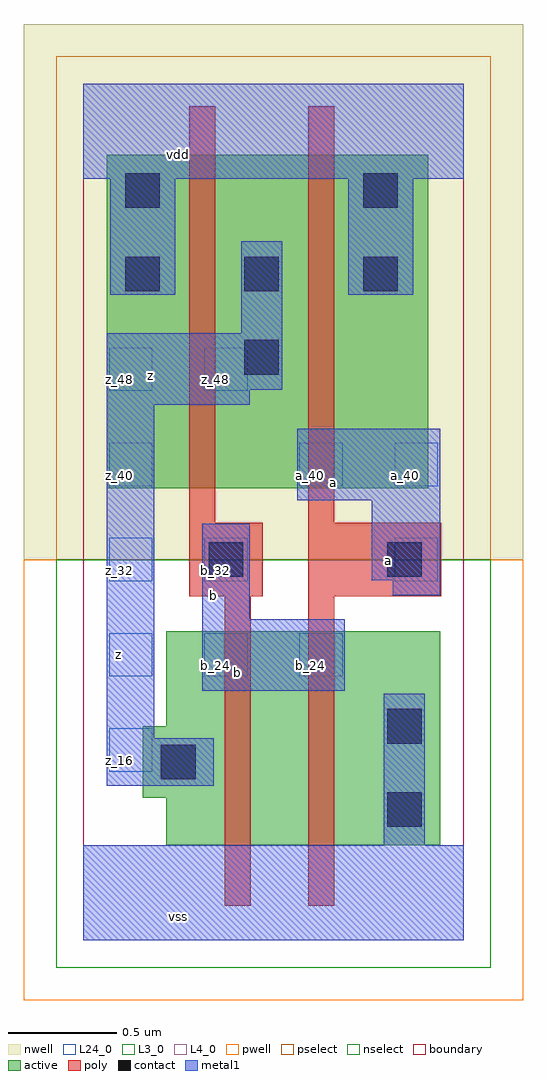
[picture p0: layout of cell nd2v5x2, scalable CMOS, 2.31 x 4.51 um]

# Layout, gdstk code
import gdstk
lib = gdstk.Library(unit=1e-6, precision=2.5e-09)
def R(c, l, rs):  # rectangles x0, y0, x1, y1
    for r in rs: c.add(gdstk.rectangle(r[:2], r[2:], *l))
def A(c, l, x, y, w, h, nx, ny, dx, dy):  # array of equal rectangles
    R(c, l, [(x+i*dx, y+j*dy, x+i*dx+w, y+j*dy+h) for i in range(nx) for j in range(ny)])
L3_0 = (3, 0)
L4_0 = (4, 0)
L24_0 = (24, 0)
contact = (25, 0)
pwell = (41, 0)
nwell = (42, 0)
active = (43, 0)
pselect = (44, 0)
nselect = (45, 0)
poly = (46, 0)
metal1 = (49, 0)
boundary = (63, 0)

nd2v5x2 = lib.new_cell('nd2v5x2')
R(nd2v5x2, L3_0, [(0.385,0.44,1.65,0.66), (0.275,0.66,1.65,0.99), (0.385,0.99,1.65,1.43)])
R(nd2v5x2, L4_0, [(0.11,2.09,1.595,3.63)])
A(nd2v5x2, L24_0, 0.12, 1.22, 0.2, 0.2, 3, 1, 0.44, 0)
A(nd2v5x2, L24_0, 0.12, 1.66, 0.2, 0.2, 1, 3, 0, 0.44)
R(nd2v5x2, L24_0, [(0.12,0.78,0.32,0.98), (0.56,1.66,0.76,1.86), (1.44,1.66,1.64,1.86), (1,2.1,1.2,2.3), (1.44,2.1,1.64,2.3), (0.56,2.54,0.76,2.74)])
A(nd2v5x2, contact, 0.195, 3, 0.16, 0.16, 3, 1, 0.55, 0)
R(nd2v5x2, contact, [(1.405,0.525,1.565,0.685), (0.36,0.745,0.52,0.905), (1.405,0.91,1.565,1.07), (0.58,1.68,0.74,1.84), (1.405,1.68,1.565,1.84), (0.745,2.615,0.905,2.775), (0.195,3.385,0.355,3.545), (1.295,3.385,1.455,3.545)])
R(nd2v5x2, pwell, [(-0.275,-0.275,2.035,1.76)])
R(nd2v5x2, nwell, [(-0.275,1.76,2.035,4.235)])
R(nd2v5x2, active, [(0.385,0.44,1.65,0.66), (0.275,0.66,1.65,0.99), (0.385,0.99,1.65,1.43), (0.11,2.09,1.595,3.63)])
R(nd2v5x2, pselect, [(-0.125,1.76,1.885,4.085)])
R(nd2v5x2, nselect, [(-0.125,-0.125,1.885,1.76)])
R(nd2v5x2, poly, [(0.655,0.16,0.775,1.59), (1.04,0.16,1.16,1.59), (0.49,1.59,0.83,1.93), (1.04,1.59,1.655,1.93), (0.49,1.93,0.61,3.855), (1.04,1.93,1.16,3.855)])
R(nd2v5x2, metal1, [(0,0,1.76,0.44), (1.39,0.44,1.58,1.14), (0.11,0.715,0.605,0.935), (0.11,0.935,0.33,2.475), (0.55,1.155,1.21,1.485), (0.55,1.485,0.77,1.925), (1.43,1.595,1.65,1.665), (1.335,1.665,1.65,2.035), (0.99,2.035,1.65,2.365), (0.11,2.475,0.77,2.545), (0.11,2.545,0.92,2.805), (0.73,2.805,0.92,3.23), (0.125,2.985,0.425,3.52), (1.225,2.985,1.525,3.52), (0,3.52,1.76,3.96)])
R(nd2v5x2, boundary, [(0,0,1.76,3.96)])
nd2v5x2.add(gdstk.Label('vss', (0.44,0.11), layer=49, texttype=0))
nd2v5x2.add(gdstk.Label('b', (0.715,1.2375), layer=49, texttype=0))
nd2v5x2.add(gdstk.Label('a', (1.4125,1.7575), layer=49, texttype=0))
nd2v5x2.add(gdstk.Label('b', (0.605,1.595), layer=49, texttype=0))
nd2v5x2.add(gdstk.Label('a', (1.155,2.1175), layer=49, texttype=0))
nd2v5x2.add(gdstk.Label('z', (0.165,1.32), layer=49, texttype=0))
nd2v5x2.add(gdstk.Label('z', (0.3125,2.61), layer=49, texttype=0))
nd2v5x2.add(gdstk.Label('vdd', (0.44,3.63), layer=49, texttype=0))
nd2v5x2.add(gdstk.Label('z_48', (0.17,2.59), layer=24, texttype=0))
nd2v5x2.add(gdstk.Label('b_24', (1.05,1.27), layer=24, texttype=0))
nd2v5x2.add(gdstk.Label('a_40', (1.05,2.15), layer=24, texttype=0))
nd2v5x2.add(gdstk.Label('z_40', (0.17,2.15), layer=24, texttype=0))
nd2v5x2.add(gdstk.Label('z_32', (0.17,1.71), layer=24, texttype=0))
nd2v5x2.add(gdstk.Label('z_24', (0.17,1.27), layer=24, texttype=0))
nd2v5x2.add(gdstk.Label('z_16', (0.17,0.83), layer=24, texttype=0))
nd2v5x2.add(gdstk.Label('a_40', (1.49,2.15), layer=24, texttype=0))
nd2v5x2.add(gdstk.Label('a_32', (1.49,1.71), layer=24, texttype=0))
nd2v5x2.add(gdstk.Label('z_48', (0.61,2.59), layer=24, texttype=0))
nd2v5x2.add(gdstk.Label('b_32', (0.61,1.71), layer=24, texttype=0))
nd2v5x2.add(gdstk.Label('b_24', (0.61,1.27), layer=24, texttype=0))

lib.write_gds('nd2v5x2.gds')
